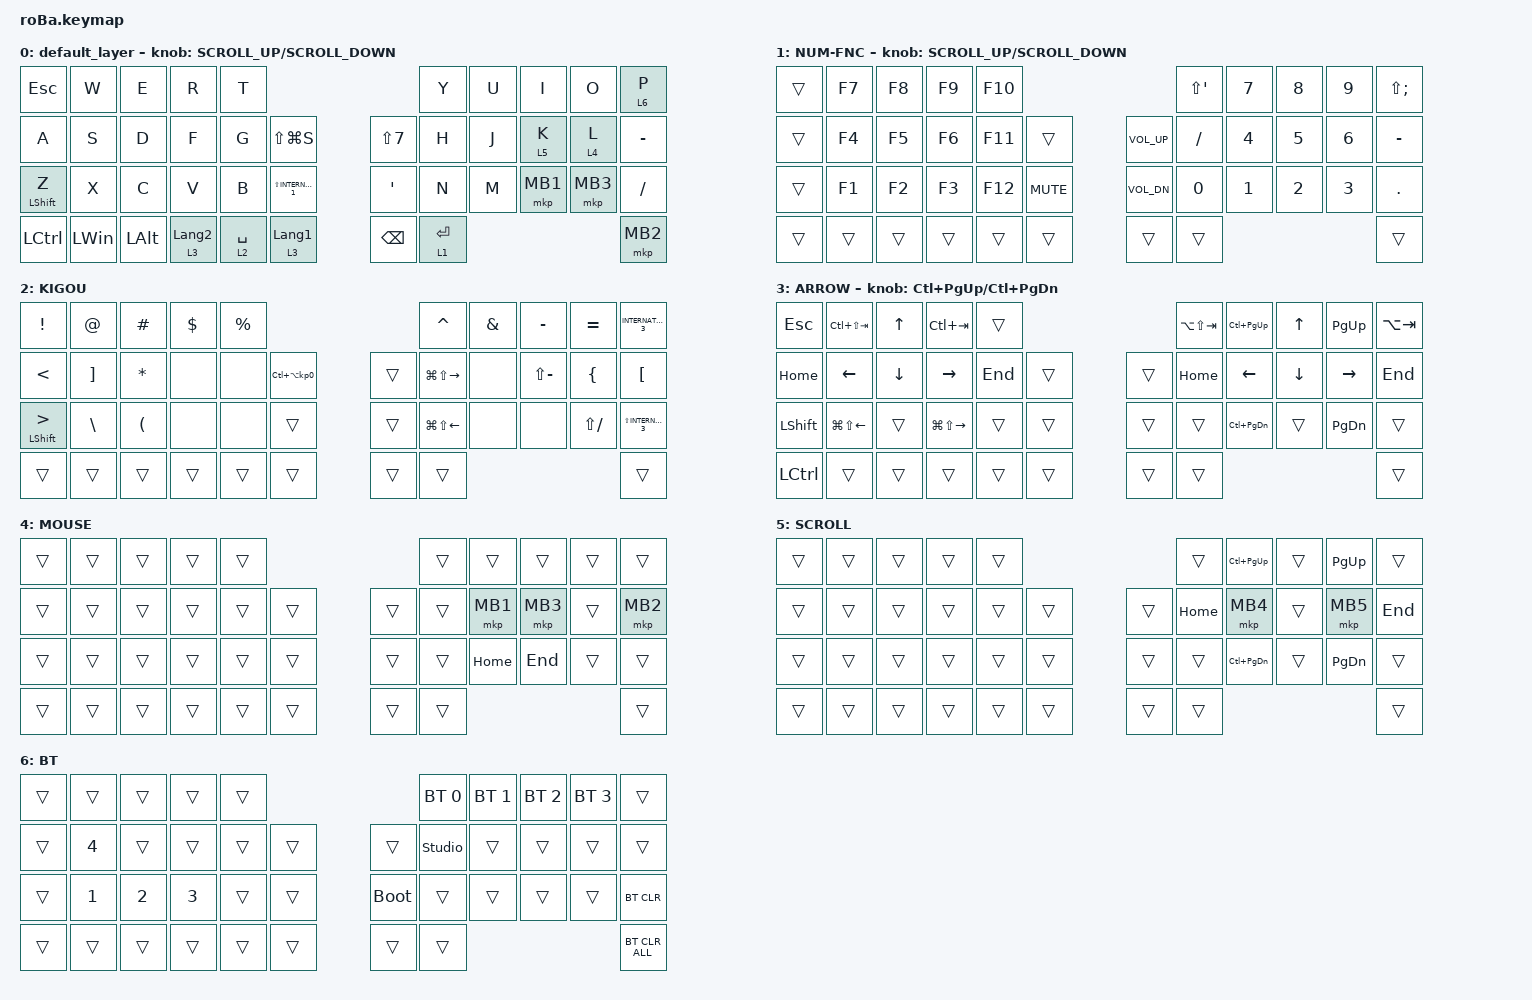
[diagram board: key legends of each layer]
#include <behaviors.dtsi>
#include <dt-bindings/zmk/bt.h>
#include <dt-bindings/zmk/keys.h>
#include <dt-bindings/zmk/pointing.h>

&mt {
    flavor = "balanced";
    quick-tap-ms = <0>;
};

/ {
    combos {
        compatible = "zmk,combos";

        tab {
            bindings = <&kp TAB>;
            key-positions = <11 12>;
        };

        henkan {
            bindings = <&to_layer_0 INTERNATIONAL_4>;
            key-positions = <11 10>;
        };

        double_quotation {
            bindings = <&kp DOUBLE_QUOTES>;
            key-positions = <20 21>;
        };

        eq {
            bindings = <&kp EQUAL>;
            key-positions = <24 25>;
        };

        del {
            bindings = <&kp DEL>;
            key-positions = <12 13>;
        };

        double {
            bindings = <&kp AT>;
            key-positions = <17 16>;
        };

        semicolon {
            bindings = <&kp SEMI>;
            key-positions = <28 29>;
        };

        esc {
            bindings = <&kp ESCAPE>;
            key-positions = <0 1>;
        };

        komma {
            bindings = <&kp COMMA>;
            key-positions = <18 19>;
        };

        period {
            bindings = <&kp PERIOD>;
            key-positions = <19 20>;
        };

        del2 {
            bindings = <&kp DEL>;
            key-positions = <28 40>;
        };

        muhenkan {
            bindings = <&to_layer_0 INTERNATIONAL_5>;
            key-positions = <22 23>;
        };
    };

    macros {
        to_layer_0: to_layer_0 {
            compatible = "zmk,behavior-macro-one-param";
            #binding-cells = <1>;
            bindings = <&to 0 &macro_param_1to1 &kp MACRO_PLACEHOLDER>;
            label = "TO_LAYER_0";
        };
    };

    behaviors {
        lt_to_layer_0: lt_to_layer_0 {
            compatible = "zmk,behavior-hold-tap";
            label = "LAYER_TAP_TO_0";
            bindings = <&mo>, <&to_layer_0>;

            #binding-cells = <2>;
            tapping-term-ms = <200>;
        };
    };

    keymap {
        compatible = "zmk,keymap";

        default_layer {
            bindings = <
&kp ESCAPE        &kp W         &kp E         &kp R                        &kp T                                                        &kp Y        &kp U  &kp I     &kp O     &lt 6 P
&kp A             &kp S         &kp D         &kp F                        &kp G        &kp LS(LG(S))                    &kp LS(N7)     &kp H        &kp J  &lt 5 K   &lt 4 L   &kp MINUS
&mt LEFT_SHIFT Z  &kp X         &kp C         &kp V                        &kp B        &kp LS(INTERNATIONAL_1)          &kp SQT        &kp N        &kp M  &mkp MB1  &mkp MB3  &kp SLASH
&kp LCTRL         &kp LEFT_WIN  &kp LEFT_ALT  &lt_to_layer_0 3 LANGUAGE_2  &lt 2 SPACE  &lt_to_layer_0 3 LANGUAGE_1      &kp BACKSPACE  &lt 1 ENTER                             &mkp MB2
            >;

            sensor-bindings = <&inc_dec_kp K_SCROLL_UP K_SCROLL_DOWN>;
        };

        NUM-FNC {
            bindings = <
&trans  &kp F7  &kp F8  &kp F9  &kp F10                                   &kp LS(APOS)  &kp N7  &kp N8  &kp N9  &kp LS(SEMI)
&trans  &kp F4  &kp F5  &kp F6  &kp F11  &trans          &kp C_VOLUME_UP  &kp SLASH     &kp N4  &kp N5  &kp N6  &kp MINUS
&trans  &kp F1  &kp F2  &kp F3  &kp F12  &kp C_MUTE      &kp C_VOL_DN     &kp N0        &kp N1  &kp N2  &kp N3  &kp DOT
&trans  &trans  &trans  &trans  &trans   &trans          &trans           &trans                                &trans
            >;

            sensor-bindings = <&inc_dec_kp K_SCROLL_UP K_SCROLL_DOWN>;
        };

        KIGOU {
            bindings = <
&kp EXCLAMATION              &kp AT             &kp HASH              &kp DOLLAR  &kp PERCENT                                       &kp CARET          &kp AMPERSAND  &kp MINUS      &kp EQUAL       &kp INTERNATIONAL_3
&kp LESS_THAN                &kp RIGHT_BRACKET  &kp ASTERISK          &none       &none        &kp LC(LA(KP_NUMBER_0))      &trans  &kp LG(LS(RIGHT))  &none          &kp LS(MINUS)  &kp LEFT_BRACE  &kp LEFT_BRACKET
&mt LEFT_SHIFT GREATER_THAN  &kp BACKSLASH      &kp LEFT_PARENTHESIS  &none       &none        &trans                       &trans  &kp LG(LS(LEFT))   &none          &none          &kp LS(SLASH)   &kp LS(INTERNATIONAL_3)
&trans                       &trans             &trans                &trans      &trans       &trans                       &trans  &trans                                                           &trans
            >;
        };

        ARROW {
            bindings = <
&kp ESCAPE        &kp LC(LS(TAB))         &kp UP_ARROW    &kp LC(TAB)              &trans                       &kp LA(LS(TAB))  &kp LC(PAGE_UP)    &kp UP_ARROW  &kp PAGE_UP    &kp LA(TAB)
&kp HOME          &kp LEFT_ARROW          &kp DOWN_ARROW  &kp RIGHT_ARROW          &kp END  &trans      &trans  &kp HOME         &kp LEFT           &kp DOWN      &kp RIGHT      &kp END
&kp LEFT_SHIFT    &kp LG(LS(LEFT_ARROW))  &trans          &kp LG(LS(RIGHT_ARROW))  &trans   &trans      &trans  &trans           &kp LC(PAGE_DOWN)  &trans        &kp PAGE_DOWN  &trans
&kp LEFT_CONTROL  &trans                  &trans          &trans                   &trans   &trans      &trans  &trans                                                           &trans
            >;

            sensor-bindings = <&inc_dec_kp LC(PAGE_UP) LC(PAGE_DOWN)>;
        };

        MOUSE {
            bindings = <
&trans  &trans  &trans  &trans  &trans                      &trans  &trans    &trans    &trans  &trans
&trans  &trans  &trans  &trans  &trans  &trans      &trans  &trans  &mkp MB1  &mkp MB3  &trans  &mkp MB2
&trans  &trans  &trans  &trans  &trans  &trans      &trans  &trans  &kp HOME  &kp END   &trans  &trans
&trans  &trans  &trans  &trans  &trans  &trans      &trans  &trans                              &trans
            >;
        };

        SCROLL {
            bindings = <
&trans  &trans  &trans  &trans  &trans                      &trans    &kp LC(PAGE_UP)    &trans  &kp PAGE_UP    &trans
&trans  &trans  &trans  &trans  &trans  &trans      &trans  &kp HOME  &mkp MB4           &trans  &mkp MB5       &kp END
&trans  &trans  &trans  &trans  &trans  &trans      &trans  &trans    &kp LC(PAGE_DOWN)  &trans  &kp PAGE_DOWN  &trans
&trans  &trans  &trans  &trans  &trans  &trans      &trans  &trans                                              &trans
            >;
        };

        BT {
            bindings = <
&trans  &trans        &trans        &trans        &trans                           &bt BT_SEL 0    &bt BT_SEL 1  &bt BT_SEL 2  &bt BT_SEL 3  &trans
&trans  &kp NUMBER_4  &trans        &trans        &trans  &trans      &trans       &studio_unlock  &trans        &trans        &trans        &trans
&trans  &kp NUMBER_1  &kp NUMBER_2  &kp NUMBER_3  &trans  &trans      &bootloader  &trans          &trans        &trans        &trans        &bt BT_CLR
&trans  &trans        &trans        &trans        &trans  &trans      &trans       &trans                                                    &bt BT_CLR_ALL
            >;
        };
    };
};
